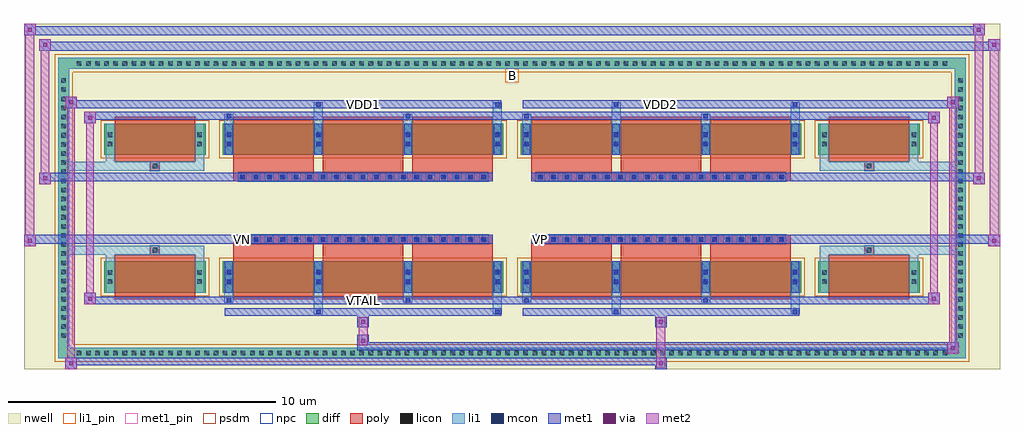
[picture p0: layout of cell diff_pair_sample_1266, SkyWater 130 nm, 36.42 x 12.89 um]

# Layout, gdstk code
import gdstk
lib = gdstk.Library(unit=1e-6, precision=5e-09)
def R(c, l, rs):  # rectangles x0, y0, x1, y1
    for r in rs: c.add(gdstk.rectangle(r[:2], r[2:], *l))
def A(c, l, x, y, w, h, nx, ny, dx, dy):  # array of equal rectangles
    R(c, l, [(x+i*dx, y+j*dy, x+i*dx+w, y+j*dy+h) for i in range(nx) for j in range(ny)])
def P(c, l, *ps):  # polygons
    for p in ps: c.add(gdstk.Polygon(p, *l))
nwell = (64, 20)
diff = (65, 20)
poly = (66, 20)
licon = (66, 44)
li1_pin = (67, 16)
li1 = (67, 20)
mcon = (67, 44)
met1_pin = (68, 16)
met1 = (68, 20)
via = (68, 44)
met2 = (69, 20)
psdm = (94, 20)
npc = (95, 20)

diff_pair_sample_1266 = lib.new_cell('diff_pair_sample_1266')
R(diff_pair_sample_1266, nwell, [(-18.21,-6.01,18.21,6.88), (-15.53,-4.2,-0.01,-0.8), (0.01,-4.2,15.53,-0.8), (-15.53,0.8,-0.01,4.2), (0.01,0.8,15.53,4.2)])
A(diff_pair_sample_1266, diff, -16.355, -5.61, 0.41, 0.41, 96, 2, 0.34, 10.81)
A(diff_pair_sample_1266, diff, -16.94, -4.965, 0.41, 0.41, 1, 29, 0, 0.34)
A(diff_pair_sample_1266, diff, 16.53, -4.965, 0.41, 0.41, 1, 29, 0, 0.34)
R(diff_pair_sample_1266, diff, [(-16.355,-5.61,16.355,-5.2), (-16.94,-4.965,-16.53,4.965), (16.53,-4.965,16.94,4.965), (-15.22,-3.155,-11.43,-1.985), (-10.79,-3.155,-0.32,-1.985), (0.32,-3.155,10.79,-1.985), (11.43,-3.155,15.22,-1.985), (-15.22,1.985,-11.43,3.155), (-10.79,1.985,-0.32,3.155), (0.32,1.985,10.79,3.155), (11.43,1.985,15.22,3.155), (-16.355,5.2,16.355,5.61)])
P(diff_pair_sample_1266, diff, [(16.94,5.61),(-16.94,5.61),(-16.94,-5.2),(-16.53,-5.2),(-16.53,5.2),(16.53,5.2),(16.53,-5.2),(-16.53,-5.2),(-16.94,-5.2),(-16.94,-5.61),(16.94,-5.61)])
A(diff_pair_sample_1266, poly, -10.4, -3.405, 3.01, 1.67, 3, 2, 3.34, 5.14)
A(diff_pair_sample_1266, poly, 0.71, -3.405, 3.01, 1.67, 3, 2, 3.34, 5.14)
A(diff_pair_sample_1266, poly, -10.4, -1.735, 3.01, 0.405, 3, 2, 3.34, 3.065)
A(diff_pair_sample_1266, poly, 0.71, -1.735, 3.01, 0.405, 3, 2, 3.34, 3.065)
A(diff_pair_sample_1266, poly, -10.22, -1.33, 0.33, 0.33, 19, 2, 0.5, 2.33)
A(diff_pair_sample_1266, poly, 0.89, -1.33, 0.33, 0.33, 19, 2, 0.5, 2.33)
R(diff_pair_sample_1266, poly, [(-14.83,-3.405,-11.82,-1.735), (11.82,-3.405,14.83,-1.735), (-13.49,-1.735,-13.16,-1.405), (-13.49,-1.735,-13.16,-1.405), (13.16,-1.735,13.49,-1.405), (13.16,-1.735,13.49,-1.405), (-10.4,-1.33,-0.71,-1), (0.71,-1.33,10.4,-1), (-10.4,1,-0.71,1.33), (0.71,1,10.4,1.33), (-13.49,1.405,-13.16,1.735), (-13.49,1.405,-13.16,1.735), (13.16,1.405,13.49,1.735), (13.16,1.405,13.49,1.735), (-14.83,1.735,-11.82,3.405), (11.82,1.735,14.83,3.405)])
A(diff_pair_sample_1266, licon, -16.235, -5.49, 0.17, 0.17, 96, 2, 0.34, 10.81)
A(diff_pair_sample_1266, licon, -16.82, -4.845, 0.17, 0.17, 1, 29, 0, 0.34)
A(diff_pair_sample_1266, licon, 16.65, -4.845, 0.17, 0.17, 1, 29, 0, 0.34)
A(diff_pair_sample_1266, licon, -10.65, -2.825, 0.17, 0.17, 4, 2, 3.34, 0.34)
A(diff_pair_sample_1266, licon, 0.46, -2.825, 0.17, 0.17, 4, 2, 3.34, 0.34)
A(diff_pair_sample_1266, licon, -10.14, -1.25, 0.17, 0.17, 19, 2, 0.5, 2.33)
A(diff_pair_sample_1266, licon, 0.97, -1.25, 0.17, 0.17, 19, 2, 0.5, 2.33)
A(diff_pair_sample_1266, licon, -10.65, 2.315, 0.17, 0.17, 4, 2, 3.34, 0.34)
A(diff_pair_sample_1266, licon, 0.46, 2.315, 0.17, 0.17, 4, 2, 3.34, 0.34)
R(diff_pair_sample_1266, licon, [(-15.08,-2.825,-14.91,-2.655), (-11.74,-2.825,-11.57,-2.655), (11.57,-2.825,11.74,-2.655), (14.91,-2.825,15.08,-2.655), (-15.08,-2.485,-14.91,-2.315), (-11.74,-2.485,-11.57,-2.315), (11.57,-2.485,11.74,-2.315), (14.91,-2.485,15.08,-2.315), (-13.41,-1.655,-13.24,-1.485), (13.24,-1.655,13.41,-1.485), (-13.41,1.485,-13.24,1.655), (13.24,1.485,13.41,1.655), (-15.08,2.315,-14.91,2.485), (-11.74,2.315,-11.57,2.485), (11.57,2.315,11.74,2.485), (14.91,2.315,15.08,2.485), (-15.08,2.655,-14.91,2.825), (-11.74,2.655,-11.57,2.825), (11.57,2.655,11.74,2.825), (14.91,2.655,15.08,2.825)])
R(diff_pair_sample_1266, li1_pin, [(-0.25,4.7,0.25,5.2)])
A(diff_pair_sample_1266, li1, -16.315, -5.57, 0.33, 0.33, 96, 2, 0.34, 10.81)
A(diff_pair_sample_1266, li1, -16.9, -4.925, 0.33, 0.33, 1, 29, 0, 0.34)
A(diff_pair_sample_1266, li1, 16.57, -4.925, 0.33, 0.33, 1, 29, 0, 0.34)
A(diff_pair_sample_1266, li1, -10.73, -3.155, 0.33, 1.17, 4, 2, 3.34, 5.14)
A(diff_pair_sample_1266, li1, 0.38, -3.155, 0.33, 1.17, 4, 2, 3.34, 5.14)
A(diff_pair_sample_1266, li1, -10.73, -2.905, 0.33, 0.33, 4, 2, 3.34, 0.34)
A(diff_pair_sample_1266, li1, 0.38, -2.905, 0.33, 0.33, 4, 2, 3.34, 0.34)
A(diff_pair_sample_1266, li1, -10.65, -2.835, 0.17, 0.17, 4, 2, 3.34, 0.36)
A(diff_pair_sample_1266, li1, -10.65, -2.835, 0.17, 0.53, 4, 2, 3.34, 5.14)
A(diff_pair_sample_1266, li1, 0.46, -2.835, 0.17, 0.17, 4, 2, 3.34, 0.36)
A(diff_pair_sample_1266, li1, 0.46, -2.835, 0.17, 0.53, 4, 2, 3.34, 5.14)
A(diff_pair_sample_1266, li1, -10.22, -1.33, 0.33, 0.33, 19, 2, 0.5, 2.33)
A(diff_pair_sample_1266, li1, 0.89, -1.33, 0.33, 0.33, 19, 2, 0.5, 2.33)
A(diff_pair_sample_1266, li1, -10.73, 2.235, 0.33, 0.33, 4, 2, 3.34, 0.34)
A(diff_pair_sample_1266, li1, 0.38, 2.235, 0.33, 0.33, 4, 2, 3.34, 0.34)
A(diff_pair_sample_1266, li1, -10.65, 2.305, 0.17, 0.17, 4, 2, 3.34, 0.36)
A(diff_pair_sample_1266, li1, 0.46, 2.305, 0.17, 0.17, 4, 2, 3.34, 0.36)
R(diff_pair_sample_1266, li1, [(-16.94,-5.61,-16.53,-5.2), (-16.94,-5.61,-16.53,-5.2), (-16.53,-5.61,16.53,-5.2), (16.53,-5.61,16.94,-5.2), (16.53,-5.61,16.94,-5.2), (-16.94,-5.2,-16.53,5.2), (16.53,-5.2,16.94,5.2), (-7.39,-3.96,-7.06,-3.155), (-7.31,-3.96,-7.14,-3.79), (-0.71,-3.96,-0.38,-3.155), (-0.63,-3.96,-0.46,-3.79), (3.72,-3.96,4.05,-3.155), (3.8,-3.96,3.97,-3.79), (10.4,-3.96,10.73,-3.155), (10.48,-3.96,10.65,-3.79), (-10.73,-3.53,-10.4,-3.155), (-10.65,-3.53,-10.48,-3.36), (-4.05,-3.53,-3.72,-3.155), (-3.97,-3.53,-3.8,-3.36), (0.38,-3.53,0.71,-3.155), (0.46,-3.53,0.63,-3.36), (7.06,-3.53,7.39,-3.155), (7.14,-3.53,7.31,-3.36), (-15.16,-3.155,-14.83,-1.985), (-11.82,-3.155,-11.49,-1.985), (11.49,-3.155,11.82,-1.985), (14.83,-3.155,15.16,-1.985), (-15.16,-2.905,-14.83,-2.575), (-11.82,-2.905,-11.49,-2.575), (11.49,-2.905,11.82,-2.575), (14.83,-2.905,15.16,-2.575), (-15.16,-2.565,-14.83,-2.235), (-11.82,-2.565,-11.49,-2.235), (11.49,-2.565,11.82,-2.235), (14.83,-2.565,15.16,-2.235), (-15.16,-1.985,-14.83,-1.405), (-11.82,-1.985,-11.49,-1.405), (11.49,-1.985,11.82,-1.405), (14.83,-1.985,15.16,-1.405), (-16.94,-1.735,-13.49,-1.405), (-15.16,-1.735,-13.49,-1.405), (-13.49,-1.735,-13.16,-1.405), (-13.16,-1.735,-11.49,-1.405), (11.49,-1.735,13.16,-1.405), (13.16,-1.735,13.49,-1.405), (13.16,-1.735,16.94,-1.405), (13.49,-1.735,15.16,-1.405), (-16.94,1.405,-13.49,1.735), (-15.16,1.405,-13.49,1.735), (-15.16,1.405,-14.83,1.985), (-13.49,1.405,-13.16,1.735), (-13.16,1.405,-11.49,1.735), (-11.82,1.405,-11.49,1.985), (11.49,1.405,13.16,1.735), (11.49,1.405,11.82,1.985), (13.16,1.405,13.49,1.735), (13.16,1.405,16.94,1.735), (13.49,1.405,15.16,1.735), (14.83,1.405,15.16,1.985), (-15.16,1.985,-14.83,3.155), (-11.82,1.985,-11.49,3.155), (11.49,1.985,11.82,3.155), (14.83,1.985,15.16,3.155), (-15.16,2.235,-14.83,2.565), (-11.82,2.235,-11.49,2.565), (11.49,2.235,11.82,2.565), (14.83,2.235,15.16,2.565), (-15.16,2.575,-14.83,2.905), (-11.82,2.575,-11.49,2.905), (11.49,2.575,11.82,2.905), (14.83,2.575,15.16,2.905), (-10.73,3.155,-10.4,3.53), (-7.39,3.155,-7.06,3.96), (-4.05,3.155,-3.72,3.53), (-0.71,3.155,-0.38,3.96), (0.38,3.155,0.71,3.53), (3.72,3.155,4.05,3.96), (7.06,3.155,7.39,3.53), (10.4,3.155,10.73,3.96), (-10.65,3.36,-10.48,3.53), (-3.97,3.36,-3.8,3.53), (0.46,3.36,0.63,3.53), (7.14,3.36,7.31,3.53), (-7.31,3.79,-7.14,3.96), (-0.63,3.79,-0.46,3.96), (3.8,3.79,3.97,3.96), (10.48,3.79,10.65,3.96), (-16.94,5.2,-16.53,5.61), (-16.94,5.2,-16.53,5.61), (-16.53,5.2,16.53,5.61), (16.53,5.2,16.94,5.61), (16.53,5.2,16.94,5.61)])
A(diff_pair_sample_1266, mcon, -10.65, -2.835, 0.17, 0.17, 4, 2, 3.34, 0.36)
A(diff_pair_sample_1266, mcon, 0.46, -2.835, 0.17, 0.17, 4, 2, 3.34, 0.36)
A(diff_pair_sample_1266, mcon, -10.14, -1.25, 0.17, 0.17, 19, 2, 0.5, 2.33)
A(diff_pair_sample_1266, mcon, 0.97, -1.25, 0.17, 0.17, 19, 2, 0.5, 2.33)
A(diff_pair_sample_1266, mcon, -10.65, 2.305, 0.17, 0.17, 4, 2, 3.34, 0.36)
A(diff_pair_sample_1266, mcon, 0.46, 2.305, 0.17, 0.17, 4, 2, 3.34, 0.36)
R(diff_pair_sample_1266, mcon, [(-7.31,-3.96,-7.14,-3.79), (-0.63,-3.96,-0.46,-3.79), (3.8,-3.96,3.97,-3.79), (10.48,-3.96,10.65,-3.79), (-10.65,-3.53,-10.48,-3.36), (-3.97,-3.53,-3.8,-3.36), (0.46,-3.53,0.63,-3.36), (7.14,-3.53,7.31,-3.36), (-10.65,3.36,-10.48,3.53), (-3.97,3.36,-3.8,3.53), (0.46,3.36,0.63,3.53), (7.14,3.36,7.31,3.53), (-7.31,3.79,-7.14,3.96), (-0.63,3.79,-0.46,3.96), (3.8,3.79,3.97,3.96), (10.48,3.79,10.65,3.96)])
R(diff_pair_sample_1266, met1_pin, [(-5.69,-3.57,-5.42,-3.3), (-10.19,-1.29,-9.92,-1.02), (0.92,-1.29,1.19,-1.02), (-5.69,3.75,-5.42,4.02), (5.42,3.75,5.69,4.02)])
A(diff_pair_sample_1266, met1, -10.71, -3.155, 0.29, 1.17, 4, 2, 3.34, 5.14)
A(diff_pair_sample_1266, met1, 0.4, -3.155, 0.29, 1.17, 4, 2, 3.34, 5.14)
A(diff_pair_sample_1266, met1, -10.71, -2.895, 0.29, 0.29, 4, 2, 3.34, 0.36)
A(diff_pair_sample_1266, met1, 0.4, -2.895, 0.29, 0.29, 4, 2, 3.34, 0.36)
A(diff_pair_sample_1266, met1, -10.2, -1.31, 0.29, 0.29, 19, 2, 0.5, 2.33)
A(diff_pair_sample_1266, met1, 0.91, -1.31, 0.29, 0.29, 19, 2, 0.5, 2.33)
A(diff_pair_sample_1266, met1, -10.71, 2.245, 0.29, 0.29, 4, 2, 3.34, 0.36)
A(diff_pair_sample_1266, met1, 0.4, 2.245, 0.29, 0.29, 4, 2, 3.34, 0.36)
R(diff_pair_sample_1266, met1, [(-16.67,-6.01,-16.24,-5.58), (5.34,-6.01,5.77,-5.58), (-16.67,-5.87,5.77,-5.58), (16.24,-5.44,16.67,-5.01), (-5.77,-5.3,16.67,-5.01), (-5.77,-5.16,-5.34,-4.73), (-5.77,-4.45,-5.34,-4.02), (5.34,-4.45,5.77,-4.02), (-10.71,-4.02,-0.4,-3.73), (-7.37,-4.02,-7.08,-3.73), (-0.69,-4.02,-0.4,-3.73), (0.4,-4.02,10.71,-3.73), (3.74,-4.02,4.03,-3.73), (10.42,-4.02,10.71,-3.73), (-15.96,-3.59,-15.53,-3.16), (-15.96,-3.59,-10.71,-3.3), (-10.71,-3.59,-10.42,-3.3), (-10.71,-3.59,-0.4,-3.3), (-4.03,-3.59,-3.74,-3.3), (-0.4,-3.59,0.4,-3.3), (0.4,-3.59,0.69,-3.3), (0.4,-3.59,10.71,-3.3), (7.08,-3.59,7.37,-3.3), (10.71,-3.59,15.96,-3.3), (15.53,-3.59,15.96,-3.16), (-18.21,-1.43,-17.78,-1), (17.78,-1.43,18.21,-1), (-18.21,-1.33,-0.71,-1), (-10.4,-1.33,-0.71,-1), (0.71,-1.33,10.4,-1), (0.71,-1.33,18.21,-1), (-17.64,0.9,-17.21,1.33), (17.21,0.9,17.64,1.33), (-17.64,1,-10.4,1.33), (-10.4,1,-0.71,1.33), (0.71,1,10.4,1.33), (10.4,1,17.64,1.33), (-15.96,3.16,-15.53,3.59), (15.53,3.16,15.96,3.59), (-15.96,3.3,-10.71,3.59), (-10.71,3.3,-10.42,3.59), (-10.71,3.3,-0.4,3.59), (-4.03,3.3,-3.74,3.59), (-0.4,3.3,0.4,3.59), (0.4,3.3,0.69,3.59), (0.4,3.3,10.71,3.59), (7.08,3.3,7.37,3.59), (10.71,3.3,15.96,3.59), (-16.67,3.73,-16.24,4.16), (-16.67,3.73,-10.71,4.02), (-10.71,3.73,-0.4,4.02), (-7.37,3.73,-7.08,4.02), (-0.69,3.73,-0.4,4.02), (0.4,3.73,10.71,4.02), (3.74,3.73,4.03,4.02), (10.42,3.73,10.71,4.02), (10.71,3.73,16.67,4.02), (16.24,3.73,16.67,4.16), (-17.64,5.88,-17.21,6.31), (-17.64,5.88,-15.53,6.21), (-15.53,5.88,15.53,6.21), (15.53,5.88,18.21,6.21), (17.78,5.88,18.21,6.31), (-18.21,6.45,-17.78,6.88), (-18.21,6.45,-15.53,6.78), (-15.53,6.45,15.53,6.78), (15.53,6.45,17.64,6.78), (17.21,6.45,17.64,6.88)])
R(diff_pair_sample_1266, via, [(-16.53,-5.87,-16.38,-5.72), (5.48,-5.87,5.63,-5.72), (16.38,-5.3,16.53,-5.15), (-5.63,-5.02,-5.48,-4.87), (-5.63,-4.31,-5.48,-4.16), (5.48,-4.31,5.63,-4.16), (-15.82,-3.45,-15.67,-3.3), (15.67,-3.45,15.82,-3.3), (-18.07,-1.29,-17.92,-1.14), (17.92,-1.29,18.07,-1.14), (-17.5,1.04,-17.35,1.19), (17.35,1.04,17.5,1.19), (-15.82,3.3,-15.67,3.45), (15.67,3.3,15.82,3.45), (-16.53,3.87,-16.38,4.02), (16.38,3.87,16.53,4.02), (-17.5,6.02,-17.35,6.17), (17.92,6.02,18.07,6.17), (-18.07,6.59,-17.92,6.74), (17.35,6.59,17.5,6.74)])
R(diff_pair_sample_1266, met2, [(-16.67,-6.01,-16.24,-5.58), (-16.6,-6.01,-16.31,4.16), (-16.31,-6.01,-16.24,-5.58), (-16.62,-5.96,-16.29,-5.63), (5.39,-5.96,5.72,-5.63), (5.39,-5.63,5.72,-4.4), (16.24,-5.44,16.67,-5.01), (16.31,-5.44,16.6,4.16), (16.6,-5.44,16.67,-5.01), (16.29,-5.39,16.62,-5.06), (-5.72,-5.11,-5.39,-4.78), (-5.72,-4.78,-5.39,-4.4), (-5.72,-4.4,-5.39,-4.07), (5.39,-4.4,5.72,-4.07), (-15.96,-3.59,-15.53,-3.16), (-15.89,-3.59,-15.6,3.59), (-15.6,-3.59,-15.53,-3.16), (15.53,-3.59,15.96,-3.16), (15.6,-3.59,15.89,3.59), (15.89,-3.59,15.96,-3.16), (-15.91,-3.54,-15.58,-3.21), (15.58,-3.54,15.91,-3.21), (-18.21,-1.43,-17.78,-1), (-18.16,-1.43,-17.83,6.88), (-17.83,-1.43,-17.78,-1), (17.78,-1.43,18.21,-1), (17.83,-1.43,18.16,6.31), (18.16,-1.43,18.21,-1), (-18.16,-1.38,-17.83,-1.05), (17.83,-1.38,18.16,-1.05), (-17.64,0.9,-17.21,1.33), (-17.59,0.9,-17.26,6.31), (-17.26,0.9,-17.21,1.33), (17.21,0.9,17.64,1.33), (17.26,0.9,17.59,6.88), (17.59,0.9,17.64,1.33), (-17.59,0.95,-17.26,1.28), (17.26,0.95,17.59,1.28), (-15.96,3.16,-15.53,3.59), (-15.6,3.16,-15.53,3.59), (15.53,3.16,15.96,3.59), (15.89,3.16,15.96,3.59), (-15.91,3.21,-15.58,3.54), (15.58,3.21,15.91,3.54), (-16.67,3.73,-16.24,4.16), (-16.31,3.73,-16.24,4.16), (16.24,3.73,16.67,4.16), (16.6,3.73,16.67,4.16), (-16.62,3.78,-16.29,4.11), (16.29,3.78,16.62,4.11), (-17.64,5.88,-17.21,6.31), (-17.26,5.88,-17.21,6.31), (17.78,5.88,18.21,6.31), (18.16,5.88,18.21,6.31), (-17.59,5.93,-17.26,6.26), (17.83,5.93,18.16,6.26), (-18.21,6.45,-17.78,6.88), (-17.83,6.45,-17.78,6.88), (17.21,6.45,17.64,6.88), (17.59,6.45,17.64,6.88), (-18.16,6.5,-17.83,6.83), (17.26,6.5,17.59,6.83)])
R(diff_pair_sample_1266, psdm, [(-15.35,-3.285,-11.3,-1.855), (-10.92,-3.285,-0.19,-1.855), (0.19,-3.285,10.92,-1.855), (11.3,-3.285,15.35,-1.855), (-15.35,1.855,-11.3,3.285), (-10.92,1.855,-0.19,3.285), (0.19,1.855,10.92,3.285), (11.3,1.855,15.35,3.285)])
P(diff_pair_sample_1266, psdm, [(17.07,5.74),(-17.07,5.74),(-17.07,-5.07),(-16.4,-5.07),(-16.4,5.07),(16.4,5.07),(16.4,-5.07),(-16.4,-5.07),(-17.07,-5.07),(-17.07,-5.74),(17.07,-5.74)])
A(diff_pair_sample_1266, npc, -10.24, -1.35, 0.37, 0.37, 19, 2, 0.5, 2.33)
A(diff_pair_sample_1266, npc, 0.87, -1.35, 0.37, 0.37, 19, 2, 0.5, 2.33)
R(diff_pair_sample_1266, npc, [(-13.51,-1.755,-13.14,-1.385), (13.14,-1.755,13.51,-1.385), (-10.24,-1.35,-9.37,-0.98), (-10.24,-1.35,-9.37,-0.98), (-9.74,-1.35,-8.87,-0.98), (-9.74,-1.35,-8.87,-0.98), (-9.24,-1.35,-8.37,-0.98), (-9.24,-1.35,-8.37,-0.98), (-8.74,-1.35,-7.87,-0.98), (-8.74,-1.35,-7.87,-0.98), (-8.24,-1.35,-7.37,-0.98), (-8.24,-1.35,-7.37,-0.98), (-7.74,-1.35,-6.87,-0.98), (-7.74,-1.35,-6.87,-0.98), (-7.24,-1.35,-6.37,-0.98), (-7.24,-1.35,-6.37,-0.98), (-6.74,-1.35,-5.87,-0.98), (-6.74,-1.35,-5.87,-0.98), (-6.24,-1.35,-5.37,-0.98), (-6.24,-1.35,-5.37,-0.98), (-5.74,-1.35,-4.87,-0.98), (-5.74,-1.35,-4.87,-0.98), (-5.24,-1.35,-4.37,-0.98), (-5.24,-1.35,-4.37,-0.98), (-4.74,-1.35,-3.87,-0.98), (-4.74,-1.35,-3.87,-0.98), (-4.24,-1.35,-3.37,-0.98), (-4.24,-1.35,-3.37,-0.98), (-3.74,-1.35,-2.87,-0.98), (-3.74,-1.35,-2.87,-0.98), (-3.24,-1.35,-2.37,-0.98), (-3.24,-1.35,-2.37,-0.98), (-2.74,-1.35,-1.87,-0.98), (-2.74,-1.35,-1.87,-0.98), (-2.24,-1.35,-1.37,-0.98), (-2.24,-1.35,-1.37,-0.98), (-1.74,-1.35,-0.87,-0.98), (-1.74,-1.35,-0.87,-0.98), (0.87,-1.35,1.74,-0.98), (0.87,-1.35,1.74,-0.98), (1.37,-1.35,2.24,-0.98), (1.37,-1.35,2.24,-0.98), (1.87,-1.35,2.74,-0.98), (1.87,-1.35,2.74,-0.98), (2.37,-1.35,3.24,-0.98), (2.37,-1.35,3.24,-0.98), (2.87,-1.35,3.74,-0.98), (2.87,-1.35,3.74,-0.98), (3.37,-1.35,4.24,-0.98), (3.37,-1.35,4.24,-0.98), (3.87,-1.35,4.74,-0.98), (3.87,-1.35,4.74,-0.98), (4.37,-1.35,5.24,-0.98), (4.37,-1.35,5.24,-0.98), (4.87,-1.35,5.74,-0.98), (4.87,-1.35,5.74,-0.98), (5.37,-1.35,6.24,-0.98), (5.37,-1.35,6.24,-0.98), (5.87,-1.35,6.74,-0.98), (5.87,-1.35,6.74,-0.98), (6.37,-1.35,7.24,-0.98), (6.37,-1.35,7.24,-0.98), (6.87,-1.35,7.74,-0.98), (6.87,-1.35,7.74,-0.98), (7.37,-1.35,8.24,-0.98), (7.37,-1.35,8.24,-0.98), (7.87,-1.35,8.74,-0.98), (7.87,-1.35,8.74,-0.98), (8.37,-1.35,9.24,-0.98), (8.37,-1.35,9.24,-0.98), (8.87,-1.35,9.74,-0.98), (8.87,-1.35,9.74,-0.98), (9.37,-1.35,10.24,-0.98), (9.37,-1.35,10.24,-0.98), (-10.24,0.98,-9.37,1.35), (-10.24,0.98,-9.37,1.35), (-9.74,0.98,-8.87,1.35), (-9.74,0.98,-8.87,1.35), (-9.24,0.98,-8.37,1.35), (-9.24,0.98,-8.37,1.35), (-8.74,0.98,-7.87,1.35), (-8.74,0.98,-7.87,1.35), (-8.24,0.98,-7.37,1.35), (-8.24,0.98,-7.37,1.35), (-7.74,0.98,-6.87,1.35), (-7.74,0.98,-6.87,1.35), (-7.24,0.98,-6.37,1.35), (-7.24,0.98,-6.37,1.35), (-6.74,0.98,-5.87,1.35), (-6.74,0.98,-5.87,1.35), (-6.24,0.98,-5.37,1.35), (-6.24,0.98,-5.37,1.35), (-5.74,0.98,-4.87,1.35), (-5.74,0.98,-4.87,1.35), (-5.24,0.98,-4.37,1.35), (-5.24,0.98,-4.37,1.35), (-4.74,0.98,-3.87,1.35), (-4.74,0.98,-3.87,1.35), (-4.24,0.98,-3.37,1.35), (-4.24,0.98,-3.37,1.35), (-3.74,0.98,-2.87,1.35), (-3.74,0.98,-2.87,1.35), (-3.24,0.98,-2.37,1.35), (-3.24,0.98,-2.37,1.35), (-2.74,0.98,-1.87,1.35), (-2.74,0.98,-1.87,1.35), (-2.24,0.98,-1.37,1.35), (-2.24,0.98,-1.37,1.35), (-1.74,0.98,-0.87,1.35), (-1.74,0.98,-0.87,1.35), (0.87,0.98,1.74,1.35), (0.87,0.98,1.74,1.35), (1.37,0.98,2.24,1.35), (1.37,0.98,2.24,1.35), (1.87,0.98,2.74,1.35), (1.87,0.98,2.74,1.35), (2.37,0.98,3.24,1.35), (2.37,0.98,3.24,1.35), (2.87,0.98,3.74,1.35), (2.87,0.98,3.74,1.35), (3.37,0.98,4.24,1.35), (3.37,0.98,4.24,1.35), (3.87,0.98,4.74,1.35), (3.87,0.98,4.74,1.35), (4.37,0.98,5.24,1.35), (4.37,0.98,5.24,1.35), (4.87,0.98,5.74,1.35), (4.87,0.98,5.74,1.35), (5.37,0.98,6.24,1.35), (5.37,0.98,6.24,1.35), (5.87,0.98,6.74,1.35), (5.87,0.98,6.74,1.35), (6.37,0.98,7.24,1.35), (6.37,0.98,7.24,1.35), (6.87,0.98,7.74,1.35), (6.87,0.98,7.74,1.35), (7.37,0.98,8.24,1.35), (7.37,0.98,8.24,1.35), (7.87,0.98,8.74,1.35), (7.87,0.98,8.74,1.35), (8.37,0.98,9.24,1.35), (8.37,0.98,9.24,1.35), (8.87,0.98,9.74,1.35), (8.87,0.98,9.74,1.35), (9.37,0.98,10.24,1.35), (9.37,0.98,10.24,1.35), (-13.51,1.385,-13.14,1.755), (13.14,1.385,13.51,1.755)])
diff_pair_sample_1266.add(gdstk.Label('VTAIL', (-5.555,-3.435), layer=68, texttype=5))
diff_pair_sample_1266.add(gdstk.Label('VN', (-10.055,-1.155), layer=68, texttype=5))
diff_pair_sample_1266.add(gdstk.Label('VP', (1.055,-1.155), layer=68, texttype=5))
diff_pair_sample_1266.add(gdstk.Label('B', (0,4.95), layer=67, texttype=5))
diff_pair_sample_1266.add(gdstk.Label('VDD2', (5.555,3.885), layer=68, texttype=5))
diff_pair_sample_1266.add(gdstk.Label('VDD1', (-5.555,3.885), layer=68, texttype=5))

lib.write_gds('diff_pair_sample_1266.gds')
